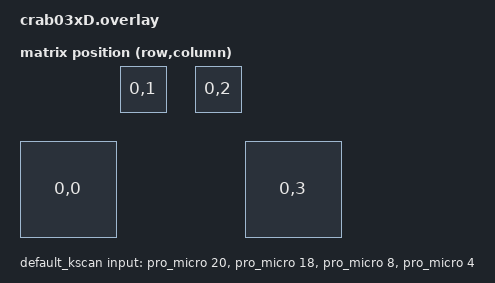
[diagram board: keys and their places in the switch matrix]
#include <dt-bindings/zmk/matrix_transform.h>
#include <physical_layouts.dtsi>

/ {
    default_kscan: kscan {
    // https://zmk.dev/docs/config/kscan#direct-gpio-driver
        compatible = "zmk,kscan-gpio-direct";
        label = "default_kscan";
        wakeup-source;
        input-gpios =  <&pro_micro 20 (GPIO_ACTIVE_LOW | GPIO_PULL_UP)>,
                    <&pro_micro 18 (GPIO_ACTIVE_LOW | GPIO_PULL_UP)>,
                    <&pro_micro 8 (GPIO_ACTIVE_HIGH | GPIO_PULL_DOWN)>,
                    <&pro_micro 4 (GPIO_ACTIVE_HIGH | GPIO_PULL_DOWN)>;
    };

    default_transform: matrix_transform {
        compatible = "zmk,matrix-transform";
        rows = <1>;
        columns = <4>;

        map = <
            RC(0,0) RC(0,1) RC(0,2) RC(0,3) 
        >;
    };
    
    physical_layout0: physical_layout_0 {
        compatible = "zmk,physical-layout";
        display-name = "Default Layout";
        kscan = <&default_kscan>; // Label of the kscan node, optional if all layouts use the same
        transform = <&default_transform>; // Label of the matrix transform for this layout
        keys  //                     w   h     x    y     rot    rx    ry
            = <&key_physical_attrs 200 200     0   150       0     0     0>
            , <&key_physical_attrs 100 100   200   0       0     0     0>
            , <&key_physical_attrs 100 100   350    0       0     0     0>
            , <&key_physical_attrs 200 200   450   150       0     0     0>
            ;
    };

    chosen {
        zmk,kscan = &default_kscan;
        zmk,physical-layout = &physical_layout0;
    };

};

